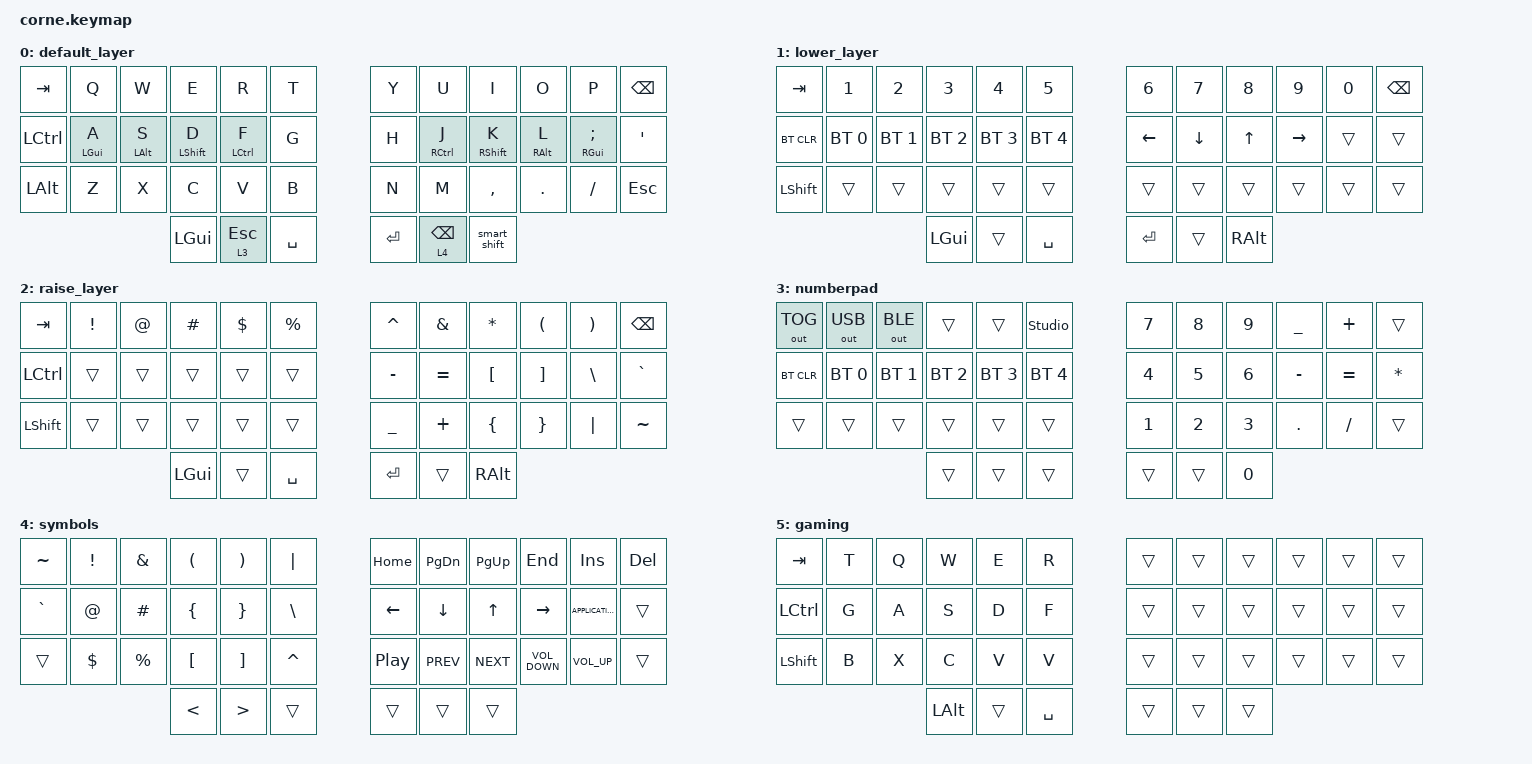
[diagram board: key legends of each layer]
/*
 * Copyright (c) 2020 The ZMK Contributors
 *
 * SPDX-License-Identifier: MIT
 */

#include <behaviors.dtsi>
#include <dt-bindings/zmk/bt.h>
#include <dt-bindings/zmk/keys.h>
#include <dt-bindings/zmk/outputs.h>

// &mt {
//     flavor = "tap-preferred";
//     quick-tap-ms = <175>;
// };

&lt { quick-tap-ms = <175>; };

&sk { quick-release; };

/ {
    behaviors {
        smart_shift: smart_shift {
            compatible = "zmk,behavior-tap-dance";
            label = "SMART_SHIFT";
            #binding-cells = <0>;
            bindings = <&sk RIGHT_SHIFT>, <&caps_word>, <&kt RIGHT_SHIFT>;
        };

        hml: home_row_mod_left {
            compatible = "zmk,behavior-hold-tap";
            #binding-cells = <2>;
            flavor = "balanced";
            require-prior-idle-ms = <150>;
            tapping-term-ms = <280>;
            quick-tap-ms = <175>;
            bindings = <&kp>, <&kp>;

            hold-trigger-key-positions = <6 7 9 8 10 11 23 22 35 34 33 21 20 19 18 30 31 32 41 40 39>; // List of keys on the right side of the keyboard
            hold-trigger-on-release;
        };

        hmr: home_row_mod_right {
            compatible = "zmk,behavior-hold-tap";
            #binding-cells = <2>;
            flavor = "balanced";
            require-prior-idle-ms = <150>;
            tapping-term-ms = <280>;
            quick-tap-ms = <175>;
            bindings = <&kp>, <&kp>;

            hold-trigger-key-positions = <0 1 2 3 4 5 12 13 14 15 16 17 24 25 26 27 28 29 36 37 38>; // List of keys on the left side of the keyboard
            hold-trigger-on-release;
        };
    };

    combos {
        compatible = "zmk,combos";

        toggle_gaming {
            bindings = <&tog 5>;
            key-positions = <37 40>;
        };
    };

    keymap {
        compatible = "zmk,keymap";

        default_layer {
            // -----------------------------------------------------------------------------------------
            // |  TAB |  Q  |  W  |  E  |  R  |  T  |   |  Y  |  U   |  I  |  O  |  P  | BKSP |
            // | CTRL |  A  |  S  |  D  |  F  |  G  |   |  H  |  J   |  K  |  L  |  ;  |  '   |
            // | SHFT |  Z  |  X  |  C  |  V  |  B  |   |  N  |  M   |  ,  |  .  |  /  | ESC  |
            //                    | GUI | LWR | SPC |   | ENT | RSE  | ALT |

            bindings = <
&kp TAB       &kp Q            &kp W            &kp E              &kp R         &kp T        &kp Y    &kp U            &kp I          &kp O             &kp P                &kp BSPC
&kp LCTRL     &hml LEFT_GUI A  &hml LEFT_ALT S  &hml LEFT_SHIFT D  &hml LCTRL F  &kp G        &kp H    &hmr RCTRL J     &hmr RSHIFT K  &hmr RIGHT_ALT L  &hmr RIGHT_GUI SEMI  &kp SQT
&kp LEFT_ALT  &kp Z            &kp X            &kp C              &kp V         &kp B        &kp N    &kp M            &kp COMMA      &kp DOT           &kp FSLH             &kp ESC
                                                &kp LGUI           &lt 3 ESCAPE  &kp SPACE    &kp RET  &lt 4 BACKSPACE  &smart_shift
            >;
        };

        lower_layer {
            // -----------------------------------------------------------------------------------------
            // |  TAB |  1  |  2  |  3  |  4  |  5  |   |  6  |  7  |  8  |  9  |  0  | BKSP |
            // | BTCLR| BT1 | BT2 | BT3 | BT4 | BT5 |   | LFT | DWN |  UP | RGT |     |      |
            // | SHFT |     |     |     |     |     |   |     |     |     |     |     |      |
            //                    | GUI |     | SPC |   | ENT |     | ALT |

            bindings = <
&kp TAB     &kp N1        &kp N2        &kp N3        &kp N4        &kp N5          &kp N6    &kp N7    &kp N8    &kp N9     &kp N0  &kp BSPC
&bt BT_CLR  &bt BT_SEL 0  &bt BT_SEL 1  &bt BT_SEL 2  &bt BT_SEL 3  &bt BT_SEL 4    &kp LEFT  &kp DOWN  &kp UP    &kp RIGHT  &trans  &trans
&kp LSHFT   &trans        &trans        &trans        &trans        &trans          &trans    &trans    &trans    &trans     &trans  &trans
                                        &kp LGUI      &trans        &kp SPACE       &kp RET   &trans    &kp RALT
            >;
        };

        raise_layer {
            // -----------------------------------------------------------------------------------------
            // |  TAB |  !  |  @  |  #  |  $  |  %  |   |  ^  |  &  |  *  |  (  |  )  | BKSP |
            // | CTRL |     |     |     |     |     |   |  -  |  =  |  [  |  ]  |  \  |  `   |
            // | SHFT |     |     |     |     |     |   |  _  |  +  |  {  |  }  | "|" |  ~   |
            //                    | GUI |     | SPC |   | ENT |     | ALT |

            bindings = <
&kp TAB    &kp EXCL  &kp AT  &kp HASH  &kp DLLR  &kp PRCNT    &kp CARET  &kp AMPS   &kp ASTRK  &kp LPAR  &kp RPAR  &kp BSPC
&kp LCTRL  &trans    &trans  &trans    &trans    &trans       &kp MINUS  &kp EQUAL  &kp LBKT   &kp RBKT  &kp BSLH  &kp GRAVE
&kp LSHFT  &trans    &trans  &trans    &trans    &trans       &kp UNDER  &kp PLUS   &kp LBRC   &kp RBRC  &kp PIPE  &kp TILDE
                             &kp LGUI  &trans    &kp SPACE    &kp RET    &trans     &kp RALT
            >;
        };

        numberpad {
            bindings = <
&out OUT_TOG  &out OUT_USB  &out OUT_BLE  &trans        &trans        &studio_unlock    &kp NUMBER_7  &kp NUMBER_8  &kp NUMBER_9  &kp UNDER   &kp PLUS   &trans
&bt BT_CLR    &bt BT_SEL 0  &bt BT_SEL 1  &bt BT_SEL 2  &bt BT_SEL 3  &bt BT_SEL 4      &kp NUMBER_4  &kp NUMBER_5  &kp NUMBER_6  &kp MINUS   &kp EQUAL  &kp ASTERISK
&trans        &trans        &trans        &trans        &trans        &trans            &kp NUMBER_1  &kp NUMBER_2  &kp NUMBER_3  &kp PERIOD  &kp SLASH  &trans
                                          &trans        &trans        &trans            &trans        &trans        &kp NUMBER_0
            >;
        };

        symbols {
            bindings = <
&kp TILDE  &kp EXCLAMATION  &kp AMPERSAND  &kp LEFT_PARENTHESIS  &kp RIGHT_PARENTHESIS  &kp PIPE         &kp HOME          &kp PAGE_DOWN  &kp PAGE_UP   &kp END            &kp INSERT         &kp DELETE
&kp GRAVE  &kp AT_SIGN      &kp HASH       &kp LEFT_BRACE        &kp RIGHT_BRACE        &kp BACKSLASH    &kp LEFT          &kp DOWN       &kp UP_ARROW  &kp RIGHT          &kp K_APPLICATION  &trans
&trans     &kp DOLLAR       &kp PERCENT    &kp LEFT_BRACKET      &kp RIGHT_BRACKET      &kp CARET        &kp C_PLAY_PAUSE  &kp C_PREV     &kp C_NEXT    &kp C_VOLUME_DOWN  &kp C_VOLUME_UP    &trans
                                           &kp LESS_THAN         &kp GREATER_THAN       &trans           &trans            &trans         &trans
            >;
        };

        gaming {
            bindings = <
&kp TAB           &kp T  &kp Q  &kp W         &kp E   &kp R        &trans  &trans  &trans  &trans  &trans  &trans
&kp LEFT_CONTROL  &kp G  &kp A  &kp S         &kp D   &kp F        &trans  &trans  &trans  &trans  &trans  &trans
&kp LEFT_SHIFT    &kp B  &kp X  &kp C         &kp V   &kp V        &trans  &trans  &trans  &trans  &trans  &trans
                                &kp LEFT_ALT  &trans  &kp SPACE    &trans  &trans  &trans
            >;
        };
    };
};
